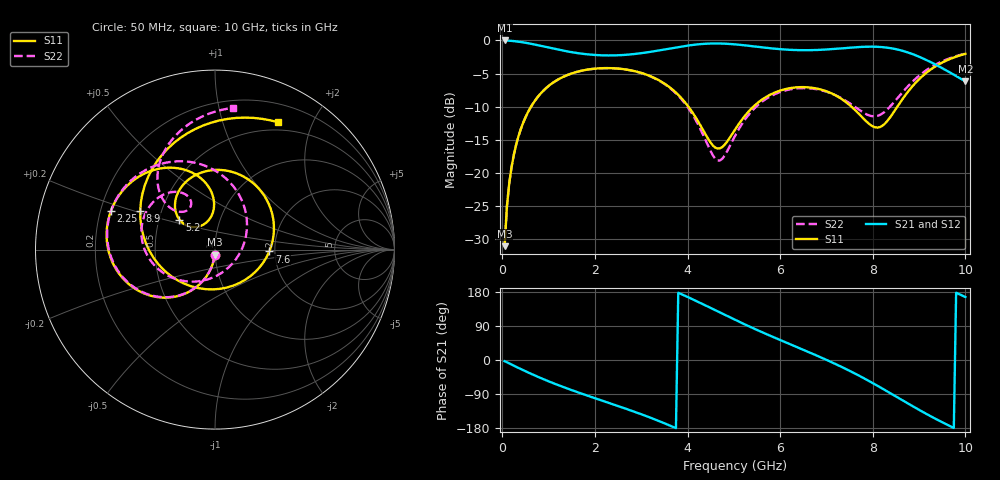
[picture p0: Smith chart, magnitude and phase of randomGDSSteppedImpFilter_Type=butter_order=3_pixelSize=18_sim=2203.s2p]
! freq	dB(S11)	phase(S11)	dB(S12)	phase(S12)
!  dB(S21)	phase(S21)	dB(S22)	phase(S22)
!S-par simulation data
#  GHz  S  DB  R 50
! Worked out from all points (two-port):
!   200 points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, 50 MHz to 10 GHz, reference 50 ohm
!   highest |S21| = 0.00 dB at 50 MHz (marker M1); lowest = -6.2 dB at 10 GHz (marker M2)
!   |S21| within 3 dB of the highest: start of sweep to 9.173 GHz
!   lowest |S11| = -31.0 dB at 50 MHz (marker M3), VSWR 1.06, Z = 49.8 - j2.8 ohm
!   |S11| at or under -10 dB: start of sweep to 620.2 MHz; 4.021 GHz to 5.419 GHz (1.399 GHz wide, 29.6 % of centre); 7.542 GHz to 8.53 GHz (988.3 MHz wide, 12.3 % of centre)
!   |S22| runs from -31.0 to -2.0 dB; largest |S21 - S12| = 0
!   S11 on the Smith chart (normalised r, x): 50 MHz: 1.00, -0.06; 2.25 GHz: 0.24, +0.17; 5.2 GHz: 0.64, +0.23; 7.6 GHz: 1.87, -0.04; 8.9 GHz: 0.38, +0.21; 10 GHz: 0.40, +1.54
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0.05  -31.01 -93.2  -0.00 -3.0  -0.00 -3.0  -31.01 -93.2
0.1  -25.02 -96.3  -0.02 -6.1  -0.02 -6.1  -25.02 -96.4
0.2  -19.09 -102.5  -0.07 -12.1  -0.07 -12.1  -19.09 -102.6
0.5  -11.61 -120.0  -0.35 -29.6  -0.35 -29.6  -11.61 -120.3
1.05  -6.59 -148.9  -1.15 -58.7  -1.15 -58.7  -6.59 -149.6
1.75  -4.51 179.9  -2.03 -90.3  -2.03 -90.3  -4.51 178.4
2.25  -4.17 159.8  -2.26 -111.1  -2.26 -111.1  -4.18 157.1
2.9  -4.70 134.3  -2.01 -138.7  -2.01 -138.7  -4.72 128.2
3.4  -6.07 114.3  -1.48 -161.9  -1.48 -161.9  -6.12 102.5
4.2  -11.87 91.1  -0.61 155.0  -0.61 155.0  -12.30 43.1
4.65  -16.30 115.4  -0.46 128.3  -0.46 128.3  -18.10 -37.7
5.05  -13.18 140.3  -0.61 104.7  -0.61 104.7  -14.07 -116.9
5.2  -11.71 139.8  -0.71 96.0  -0.71 96.0  -12.33 -133.2
5.9  -7.81 114.7  -1.26 57.9  -1.26 57.9  -8.04 178.4
6.7  -7.14 71.4  -1.46 16.5  -1.46 16.5  -7.26 141.2
7.2  -8.29 36.4  -1.27 -10.9  -1.27 -10.9  -8.27 123.6
7.6  -10.37 -1.9  -1.04 -34.8  -1.04 -34.8  -9.95 116.3
8  -12.95 -62.6  -0.94 -61.0  -0.94 -61.0  -11.43 123.5
8.35  -11.83 -132.4  -1.13 -85.5  -1.13 -85.5  -10.15 135.7
8.9  -6.57 152.6  -2.17 -124.6  -2.17 -124.6  -5.93 129.5
9.5  -3.33 99.1  -4.18 -164.3  -4.18 -164.3  -3.14 105.0
10  -2.02 63.5  -6.18 166.2  -6.18 166.2  -1.99 82.9
